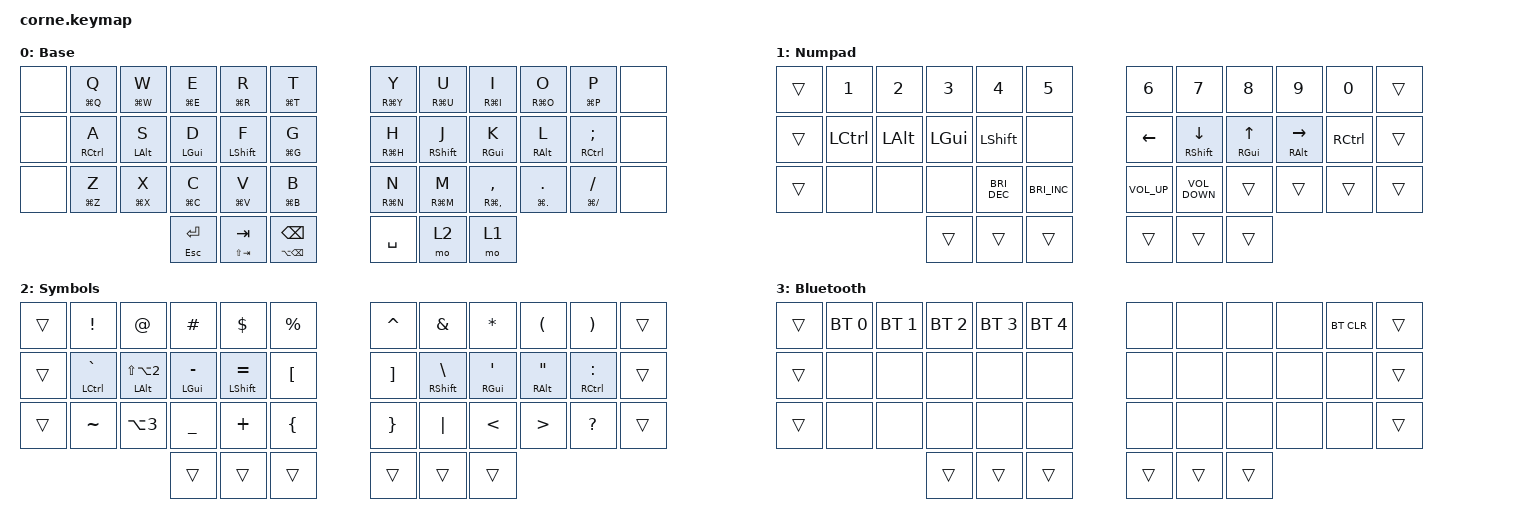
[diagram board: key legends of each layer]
/*
 * Copyright (c) 2020 The ZMK Contributors
 *
 * SPDX-License-Identifier: MIT
 */

#include <behaviors.dtsi>
#include <dt-bindings/zmk/bt.h>
#include <dt-bindings/zmk/keys.h>

&mt {
    flavor = "balanced";
    tapping-term-ms = <350>;
};

/ {
    combos {
        compatible = "zmk,combos";

        bluetooth {
            bindings = <&mo 3>;
            key-positions = <40 41>;
        };

        caps_word {
            bindings = <&caps_word>;
            key-positions = <16 19>;
        };
    };

    behaviors {
        shift_lock: shift_lock {
            compatible = "zmk,behavior-tap-dance";
            label = "SHIFT_LOCK";
            #binding-cells = <0>;
            bindings = <&kp LEFT_SHIFT>, <&caps_word>;
        };
    };

    keymap {
        compatible = "zmk,keymap";

        base {
            // -----------------------------------------------------------------------------------------
            // |  TAB |  Q  |  W  |  E  |  R  |  T  |   |  Y  |  U   |  I  |  O  |  P  | BKSP |
            // | CTRL |  A  |  S  |  D  |  F  |  G  |   |  H  |  J   |  K  |  L  |  ;  |  '   |
            // | SHFT |  Z  |  X  |  C  |  V  |  B  |   |  N  |  M   |  ,  |  .  |  /  | ESC  |
            //                    | GUI | LWR | SPC |   | ENT | RSE  | ALT |

            display-name = "Base";
            bindings = <
&none  &mt LG(Q) Q  &mt LG(W) W  &mt LG(E) E       &mt LG(R) R      &mt LG(T) T                    &mt RG(Y) Y  &mt RG(U) U  &mt RG(I) I          &mt RG(O) O            &mt LG(P) P          &none
&none  &mt RCTRL A  &mt LALT S   &mt LGUI D        &mt LSHIFT F     &mt LG(G) G                    &mt RG(H) H  &mt RSHFT J  &mt RGUI K           &mt RALT L             &mt RCTRL SEMICOLON  &none
&none  &mt LG(Z) Z  &mt LG(X) X  &mt LG(C) C       &mt LG(V) V      &mt LG(B) B                    &mt RG(N) N  &mt RG(M) M  &mt RG(COMMA) COMMA  &mt LG(PERIOD) PERIOD  &mt LG(SLASH) SLASH  &none
                                 &mt ESCAPE ENTER  &mt LS(TAB) TAB  &mt LA(BACKSPACE) BACKSPACE    &kp SPACE    &mo 2        &mo 1
            >;
        };

        numpad {
            // -----------------------------------------------------------------------------------------
            // |  TAB |  1  |  2  |  3  |  4  |  5  |   |  6  |  7  |  8  |  9  |  0  | BKSP |
            // | BTCLR| BT1 | BT2 | BT3 | BT4 | BT5 |   | LFT | DWN |  UP | RGT |     |      |
            // | SHFT |     |     |     |     |     |   |     |     |     |     |     |      |
            //                    | GUI |     | SPC |   | ENT |     | ALT |

            display-name = "Numpad";
            bindings = <
&trans  &kp NUMBER_1  &kp NUMBER_2  &kp NUMBER_3  &kp NUMBER_4          &kp NUMBER_5            &kp NUMBER_6     &kp NUMBER_7          &kp NUMBER_8       &kp NUMBER_9          &kp NUMBER_0  &trans
&trans  &kp LCTRL     &kp LEFT_ALT  &kp LEFT_GUI  &kp LSHFT             &none                   &kp LEFT         &mt RIGHT_SHIFT DOWN  &mt RGUI UP_ARROW  &mt RALT RIGHT_ARROW  &kp RCTRL     &trans
&trans  &none         &none         &none         &kp C_BRIGHTNESS_DEC  &kp C_BRIGHTNESS_INC    &kp C_VOLUME_UP  &kp C_VOLUME_DOWN     &trans             &trans                &trans        &trans
                                    &trans        &trans                &trans                  &trans           &trans                &trans
            >;
        };

        symbols {
            // -----------------------------------------------------------------------------------------
            // |  TAB |  !  |  @  |  #  |  $  |  %  |   |  ^  |  &  |  *  |  (  |  )  | BKSP |
            // | CTRL |     |     |     |     |     |   |  -  |  =  |  [  |  ]  |  \  |  `   |
            // | SHFT |     |     |     |     |     |   |  _  |  +  |  {  |  }  | "|" |  ~   |
            //                    | GUI |     | SPC |   | ENT |     | ALT |

            display-name = "Symbols";
            bindings = <
&trans  &kp EXCL         &kp AT                         &kp HASH        &kp DLLR              &kp PRCNT           &kp CARET          &kp AMPS                   &kp ASTERISK   &kp LEFT_PARENTHESIS         &kp RIGHT_PARENTHESIS  &trans
&trans  &mt LCTRL GRAVE  &mt LEFT_ALT LS(LA(NUMBER_2))  &mt LGUI MINUS  &mt LEFT_SHIFT EQUAL  &kp LEFT_BRACKET    &kp RIGHT_BRACKET  &mt RIGHT_SHIFT BACKSLASH  &mt RGUI SQT   &mt RIGHT_ALT DOUBLE_QUOTES  &mt RCTRL COLON        &trans
&trans  &kp TILDE        &kp LA(NUMBER_3)               &kp UNDERSCORE  &kp PLUS              &kp LEFT_BRACE      &kp RIGHT_BRACE    &kp PIPE                   &kp LESS_THAN  &kp GREATER_THAN             &kp QUESTION           &trans
                                                        &trans          &trans                &trans              &trans             &trans                     &trans
            >;
        };

        bluetooth {
            bindings = <
&trans  &bt BT_SEL 0  &bt BT_SEL 1  &bt BT_SEL 2  &bt BT_SEL 3  &bt BT_SEL 4    &none   &none   &none   &none  &bt BT_CLR  &trans
&trans  &none         &none         &none         &none         &none           &none   &none   &none   &none  &none       &trans
&trans  &none         &none         &none         &none         &none           &none   &none   &none   &none  &none       &trans
                                    &trans        &trans        &trans          &trans  &trans  &trans
            >;

            display-name = "Bluetooth";
        };
    };
};
